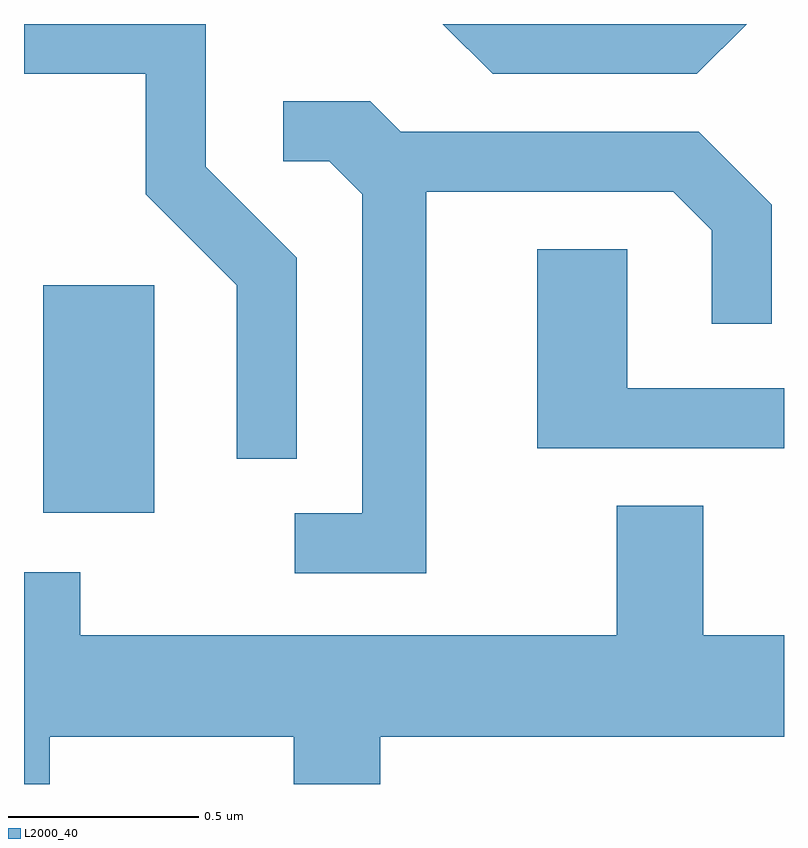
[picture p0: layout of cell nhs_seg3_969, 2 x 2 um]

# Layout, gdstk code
import gdstk
lib = gdstk.Library(unit=1e-6, precision=1e-09)
def R(c, l, rs):  # rectangles x0, y0, x1, y1
    for r in rs: c.add(gdstk.rectangle(r[:2], r[2:], *l))
def P(c, l, *ps):  # polygons
    for p in ps: c.add(gdstk.Polygon(p, *l))
L2000_40 = (2000, 40)

nhs_seg3_969 = lib.new_cell('nhs_seg3_969')
R(nhs_seg3_969, L2000_40, [(192.661,1126.606,192.954,1127.204)])
P(nhs_seg3_969, L2000_40, [(193.329,1127.277),(193.089,1127.517),(193.089,1127.892),(192.611,1127.892),(192.611,1127.761),(192.931,1127.761),(192.931,1127.444),(193.171,1127.204),(193.171,1126.748),(193.329,1126.748)],
  [(194.513,1127.892),(193.713,1127.892),(193.844,1127.761),(194.382,1127.761)],
  [(193.669,1127.451),(194.319,1127.451),(194.421,1127.349),(194.421,1127.103),(194.579,1127.103),(194.579,1127.417),(194.387,1127.609),(193.602,1127.609),(193.522,1127.689),(193.293,1127.689),(193.293,1127.531),(193.414,1127.531),(193.501,1127.444),(193.501,1126.604),(193.323,1126.604),(193.323,1126.446),(193.669,1126.446)],
  [(194.611,1126.934),(194.199,1126.934),(194.199,1127.299),(193.961,1127.299),(193.961,1126.776),(194.611,1126.776)],
  [(192.679,1126.016),(193.321,1126.016),(193.321,1125.892),(193.549,1125.892),(193.549,1126.016),(194.611,1126.016),(194.611,1126.284),(194.399,1126.284),(194.399,1126.624),(194.171,1126.624),(194.171,1126.284),(192.759,1126.284),(192.759,1126.449),(192.611,1126.449),(192.611,1125.892),(192.679,1125.892)])

lib.write_gds('nhs_seg3_969.gds')
